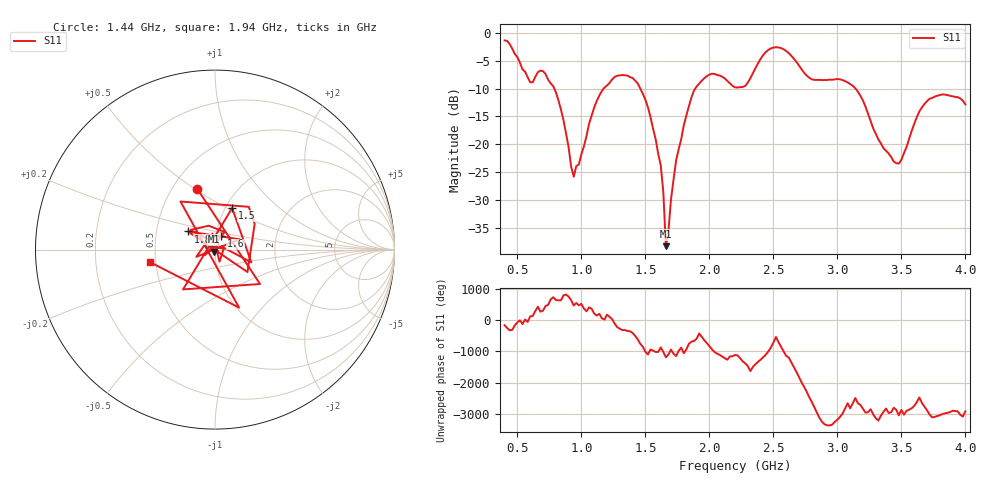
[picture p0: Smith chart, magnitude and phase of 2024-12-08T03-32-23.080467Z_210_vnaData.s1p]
!Created with skrf (http://scikit-rf.org).
# Hz S RI R 50.0
!freq ReS11 ImS11
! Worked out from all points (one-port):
!   181 points, 400 MHz to 4 GHz, reference 50 ohm
!   lowest |S11| = -38.2 dB at 1.66 GHz (marker M1), VSWR 1.02, Z = 49.6 - j1.16 ohm
!   |S11| at or under -10 dB: 788.1 MHz to 1.174 GHz (386 MHz wide, 39.3 % of centre); 1.46 GHz to 1.89 GHz (430.1 MHz wide, 25.7 % of centre); 3.141 GHz to end of sweep
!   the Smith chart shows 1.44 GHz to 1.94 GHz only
!   S11 on the Smith chart (normalised r, x): 1.44 GHz: 0.66, +0.51; 1.5 GHz: 1.08, +0.53; 1.6 GHz: 1.06, +0.16; 1.82 GHz: 0.72, +0.15; 1.94 GHz: 0.46, -0.07
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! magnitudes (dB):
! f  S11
! 400 MHz  -1.4
! 600 MHz  -8.9
! 720 MHz  -7.4
! 860 MHz  -15.7
! 940 MHz  -25.8
! 1.12 GHz  -12.2
! 1.3 GHz  -7.6
! 1.44 GHz  -9.1
! 1.5 GHz  -12.0
! 1.6 GHz  -21.7
! 1.64 GHz  -28.5
! 1.66 GHz  -38.2
! 1.72 GHz  -26.3
! 1.76 GHz  -20.8
! 1.82 GHz  -14.8
! 1.94 GHz  -8.6
! 2.04 GHz  -7.4
! 2.2 GHz  -9.8
! 2.28 GHz  -9.5
! 2.48 GHz  -2.8
! 2.66 GHz  -4.7
! 2.8 GHz  -8.3
! 3.1 GHz  -9.2
! 3.44 GHz  -23.1
! 3.48 GHz  -23.4
! 3.56 GHz  -19.0
! 3.72 GHz  -11.8
! 4 GHz  -12.8
